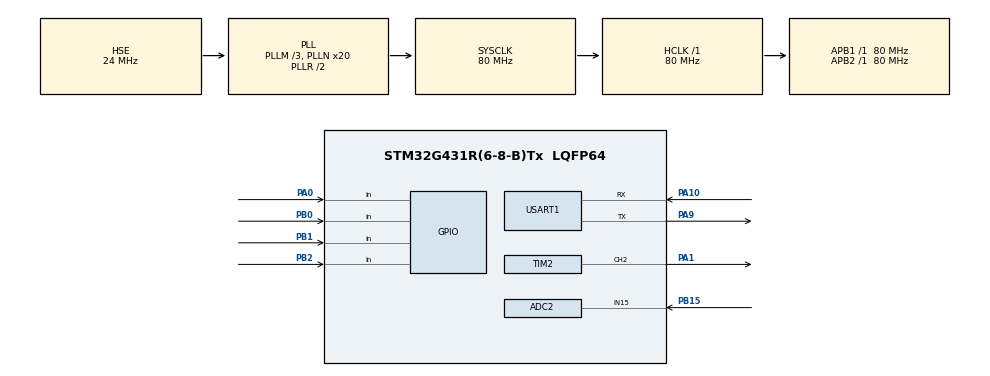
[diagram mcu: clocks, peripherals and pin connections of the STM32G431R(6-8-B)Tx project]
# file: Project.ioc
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ADC2.Channel-0\#ChannelRegularConversion=ADC_CHANNEL_15
ADC2.NbrOfConversionFlag=1
ADC2.OffsetNumber-0\#ChannelRegularConversion=ADC_OFFSET_NONE
ADC2.Rank-0\#ChannelRegularConversion=1
ADC2.SamplingTime-0\#ChannelRegularConversion=ADC_SAMPLETIME_2CYCLES_5
Mcu.Family=STM32G4
Mcu.Name=STM32G431R(6-8-B)Tx
Mcu.Package=LQFP64
NVIC.ADC1_2_IRQn=true\:15\:0\:true\:false\:true\:true\:true\:true
NVIC.PriorityGroup=NVIC_PRIORITYGROUP_4
NVIC.TIM2_IRQn=true\:0\:0\:false\:false\:true\:true\:true\:true
NVIC.TIM6_DAC_IRQn=true\:0\:0\:false\:false\:true\:true\:true\:true
NVIC.USART1_IRQn=true\:9\:0\:true\:false\:true\:true\:true\:true
PA0.Signal=GPIO_Input
PA1.Signal=S_TIM2_CH2
PA10.Mode=Asynchronous
PA10.Signal=USART1_RX
PA13.Mode=Serial_Wire
PA13.Signal=SYS_JTMS-SWDIO
PA14.Mode=Serial_Wire
PA14.Signal=SYS_JTCK-SWCLK
PA9.Mode=Asynchronous
PA9.Signal=USART1_TX
PB0.Signal=GPIO_Input
PB1.Signal=GPIO_Input
PB15.Mode=IN15-Single-Ended
PB15.Signal=ADC2_IN15
PB2.Signal=GPIO_Input
PF0-OSC_IN.Mode=HSE-External-Oscillator
PF0-OSC_IN.Signal=RCC_OSC_IN
PF1-OSC_OUT.Mode=HSE-External-Oscillator
PF1-OSC_OUT.Signal=RCC_OSC_OUT
ProjectManager.HeapSize=0x200
ProjectManager.StackSize=0x400
ProjectManager.TargetToolchain=MDK-ARM V5.32
RCC.ADC12Freq_Value=80000000
RCC.AHBFreq_Value=80000000
RCC.APB1Freq_Value=80000000
RCC.APB1TimFreq_Value=80000000
RCC.APB2Freq_Value=80000000
RCC.APB2TimFreq_Value=80000000
RCC.CortexFreq_Value=80000000
RCC.EXTERNAL_CLOCK_VALUE=12288000
RCC.HCLKFreq_Value=80000000
RCC.HSE_VALUE=24000000
RCC.HSI48_VALUE=48000000
RCC.HSI_VALUE=16000000
RCC.LSE_VALUE=32768
RCC.PLLM=RCC_PLLM_DIV3
RCC.PLLN=20
RCC.PLLSourceVirtual=RCC_PLLSOURCE_HSE
RCC.SYSCLKFreq_VALUE=80000000
RCC.SYSCLKSource=RCC_SYSCLKSOURCE_PLLCLK
RCC.USBFreq_Value=80000000
RCC.VCOOutputFreq_Value=160000000
SH.S_TIM2_CH2.0=TIM2_CH2,PWM Generation2 CH2
TIM2.Channel-PWM\ Generation2\ CH2=TIM_CHANNEL_2
TIM2.PeriodNoDither=100-1
TIM2.Prescaler=400-1
TIM6.PeriodNoDither=10000-1
TIM6.Prescaler=800-1
USART1.VirtualMode-Asynchronous=VM_ASYNC
VP_SYS_VS_DBSignals.Mode=DisableDeadBatterySignals
VP_TIM2_VS_ClockSourceINT.Mode=Internal
VP_TIM6_VS_ClockSourceINT.Mode=Enable_Timer
board=custom

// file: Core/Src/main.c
/* USER CODE BEGIN Header */
/**
 ******************************************************************************
 * @file           : main.c
 * @brief          : Main program body
 ******************************************************************************
 * @attention
 *
 * Copyright (c) 2024 STMicroelectronics.
 * All rights reserved.
 *
 * This software is licensed under terms that can be found in the LICENSE file
 * in the root directory of this software component.
 * If no LICENSE file comes with this software, it is provided AS-IS.
 *
 ******************************************************************************
 */
/* USER CODE END Header */
#include "main.h"
#include "adc.h"
#include "tim.h"
#include "usart.h"
#include "gpio.h"

/* USER CODE BEGIN Includes */
#include "lcd.h"
#include "led.h"
#include "stdbool.h"
/* USER CODE END Includes */

/* USER CODE BEGIN PTD */
uint64_t usart_time = 0, time = 0; // 计算sleeping进入时间
int mode = 0, gear = 1;
double temp;
/* USER CODE END PTD */

/* USER CODE BEGIN PD */
bool start_time = false;
/* USER CODE END PD */

void SystemClock_Config(void);

int main(void)
{

  /* MCU Configuration--------------------------------------------------------*/

  /* Reset of all peripherals, Initializes the Flash interface and the Systick. */
  HAL_Init();

  /* Configure the system clock */
  SystemClock_Config();

  /* Initialize all configured peripherals */
  MX_GPIO_Init();
  MX_ADC2_Init();
  MX_TIM2_Init();
  MX_USART1_UART_Init();
  MX_TIM6_Init();
  /* USER CODE BEGIN 2 */
  led_init();
  LCD_Init();
  LCD_Clear(Black);
  LCD_SetBackColor(Black);
  LCD_SetTextColor(White);
  HAL_ADC_Start_IT(&hadc2);
  HAL_TIM_PWM_Start_IT(&htim2, TIM_CHANNEL_2);
  HAL_UART_Receive_IT(&huart1, &USART1_RECEIVE_DATA, USART1_RECEIVE_BUUFER_SIZE);
  HAL_TIM_Base_Start_IT(&htim6);
  /* USER CODE END 2 */

  /* Infinite loop */
  /* USER CODE BEGIN WHILE */
  while (1)
  {
    if (USART1_RECEIVE_STATE & 0x8000)
    {
      USART1_RECEIVE_STATE = 0;
      time = 0;
      start_time = true;
      if (USART1_RECEIVE_ARRAY[0] == 'B')
      {
        if (USART1_RECEIVE_ARRAY[1] == '1')
        {
          if (mode == 3)
          {
            mode = 0;
            time = 0;
          }
          else
          {
            mode++;
            if (mode == 2)
              mode = 0;
            time = 0;
          }
        }
        else if (USART1_RECEIVE_ARRAY[1] == '2')
        {
          if (mode == 3)
          {
            mode = 0;
            time = 0;
          }
          else if (mode == 1)
          {
            gear++;
            if (gear == 4)
              gear = 1;
          }
        }
        else if (USART1_RECEIVE_ARRAY[1] == '3')
        {
          if (mode == 3)
          {
            mode = 0;
            time = 0;
          }
          else if (mode == 1)
          {
            gear--;
            if (gear == 0)
              gear = 3;
          }
        }
        else
        {
          printf("NULL\r\n");
        }
      }
      else
      {
        printf("NULL\r\n");
      }
    }
    if (HAL_GPIO_ReadPin(GPIOB, GPIO_PIN_0) == 0)
    {
      while (HAL_GPIO_ReadPin(GPIOB, GPIO_PIN_0) == 0)
        ;
      mode++;
      if (mode == 2)
        mode = 0;
      time = 0;
    }
    else if (HAL_GPIO_ReadPin(GPIOB, GPIO_PIN_1) == 0)
    {
      while (HAL_GPIO_ReadPin(GPIOB, GPIO_PIN_1) == 0)
        ;
      if (mode == 1)
      {
        gear++;
        if (gear == 4)
          gear = 1;
      }
      else if (mode == 3)
      {
        mode = 0;
      }
      time = 0;
    }
    else if (HAL_GPIO_ReadPin(GPIOB, GPIO_PIN_2) == 0)
    {
      while (HAL_GPIO_ReadPin(GPIOB, GPIO_PIN_2) == 0)
        ;
      if (mode == 1)
      {
        gear--;
        if (gear == 0)
          gear = 3;
      }
      else if (mode == 3)
      {
        mode = 0;
      }
      time = 0;
    }
    else if (HAL_GPIO_ReadPin(GPIOA, GPIO_PIN_0) == 0)
    {
      while (HAL_GPIO_ReadPin(GPIOA, GPIO_PIN_0) == 0)
        ;
      time = 0;
    }
    if (gear == 1)
    {
      led_ON(1);
      led_OFF(2);
      led_OFF(3);
    }
    else if (gear == 2)
    {
      led_OFF(1);
      led_ON(2);
      led_OFF(3);
    }
    else
    {
      led_OFF(1);
      led_OFF(2);
      led_ON(3);
    }
    /* USER CODE END WHILE */

  }
}

void SystemClock_Config(void)
{
  RCC_OscInitTypeDef RCC_OscInitStruct = {0};
  RCC_ClkInitTypeDef RCC_ClkInitStruct = {0};

  /** Configure the main internal regulator output voltage
   */
  HAL_PWREx_ControlVoltageScaling(PWR_REGULATOR_VOLTAGE_SCALE1);

  /** Initializes the RCC Oscillators according to the specified parameters
   * in the RCC_OscInitTypeDef structure.
   */
  RCC_OscInitStruct.OscillatorType = RCC_OSCILLATORTYPE_HSE;
  RCC_OscInitStruct.HSEState = RCC_HSE_ON;
  RCC_OscInitStruct.PLL.PLLState = RCC_PLL_ON;
  RCC_OscInitStruct.PLL.PLLSource = RCC_PLLSOURCE_HSE;
  RCC_OscInitStruct.PLL.PLLM = RCC_PLLM_DIV3;
  RCC_OscInitStruct.PLL.PLLN = 20;
  RCC_OscInitStruct.PLL.PLLP = RCC_PLLP_DIV2;
  RCC_OscInitStruct.PLL.PLLQ = RCC_PLLQ_DIV2;
  RCC_OscInitStruct.PLL.PLLR = RCC_PLLR_DIV2;
  if (HAL_RCC_OscConfig(&RCC_OscInitStruct) != HAL_OK)
  {
    Error_Handler();
  }

  /** Initializes the CPU, AHB and APB buses clocks
   */
  RCC_ClkInitStruct.ClockType = RCC_CLOCKTYPE_HCLK | RCC_CLOCKTYPE_SYSCLK | RCC_CLOCKTYPE_PCLK1 | RCC_CLOCKTYPE_PCLK2;
  RCC_ClkInitStruct.SYSCLKSource = RCC_SYSCLKSOURCE_PLLCLK;
  RCC_ClkInitStruct.AHBCLKDivider = RCC_SYSCLK_DIV1;
  RCC_ClkInitStruct.APB1CLKDivider = RCC_HCLK_DIV1;
  RCC_ClkInitStruct.APB2CLKDivider = RCC_HCLK_DIV1;

  if (HAL_RCC_ClockConfig(&RCC_ClkInitStruct, FLASH_LATENCY_2) != HAL_OK)
  {
    Error_Handler();
  }
}

/* USER CODE BEGIN 4 */
char text[30];
void HAL_TIM_PeriodElapsedCallback(TIM_HandleTypeDef *htim)
{
  if (htim->Instance == TIM6)
  {
    time++; // 时间自增
    if (time >= 50)
    {
      mode = 3;
    }
    if (start_time == true && usart_time < 30)
    {
      led_ON(4);
      usart_time++;
    }
    else
    {
      start_time = false;
      usart_time = 0;
    }
    // 获取温度
    double v = getADC(&hadc2);
    if (v >= 3)
      temp = 40;
    else if (v <= 1)
      temp = 10;
    else
      temp = 10 * v + 10;

    if (mode == 0)
    {
      led_ON(8);
      if (temp < 25)
        gear = 1;
      else if (temp > 30)
        gear = 3;
      else
        gear = 2;

      LCD_DisplayStringLine(Line2, (u8 *)"        DATA      ");
      sprintf(text, "     TEMP:%.1lf  ", temp);
      LCD_DisplayStringLine(Line4, (u8 *)text);
      LCD_DisplayStringLine(Line5, (u8 *)"     MODE=AUTO  ");
      sprintf(text, "     GEAR:%d  ", gear);
      LCD_DisplayStringLine(Line6, (u8 *)text);
    }
    else if (mode == 1)
    {
      led_OFF(8);
      LCD_DisplayStringLine(Line2, (u8 *)"        DATA      ");
      sprintf(text, "     TEMP:%.1lf  ", temp);
      LCD_DisplayStringLine(Line4, (u8 *)text);
      LCD_DisplayStringLine(Line5, (u8 *)"     MODE=MANU  ");
      sprintf(text, "     GEAR:%d  ", gear);
      LCD_DisplayStringLine(Line6, (u8 *)text);
    }
    else if (mode == 3)
    {
      led_OFF(8);
      LCD_DisplayStringLine(Line2, (u8 *)"                  ");
      LCD_DisplayStringLine(Line4, (u8 *)"                  ");
      LCD_DisplayStringLine(Line5, (u8 *)"     SLEEPING  ");
      sprintf(text, "     GEAR:%d  ", gear);
      LCD_DisplayStringLine(Line6, (u8 *)text);
    }
  }
}

void HAL_TIM_PWM_PulseFinishedCallback(TIM_HandleTypeDef *htim)
{
  if (htim->Instance == TIM2 && htim->Channel == HAL_TIM_ACTIVE_CHANNEL_2)
  {
    if (gear == 1)
      __HAL_TIM_SET_COMPARE(&htim2, TIM_CHANNEL_2, 10);
    else if (gear == 2)
      __HAL_TIM_SET_COMPARE(&htim2, TIM_CHANNEL_2, 40);
    else
      __HAL_TIM_SET_COMPARE(&htim2, TIM_CHANNEL_2, 80);
    HAL_TIM_PWM_Start_IT(&htim2, TIM_CHANNEL_2);
  }
}
/* USER CODE END 4 */

void Error_Handler(void)
{
  __disable_irq();
  while (1)
  {
  }
}
